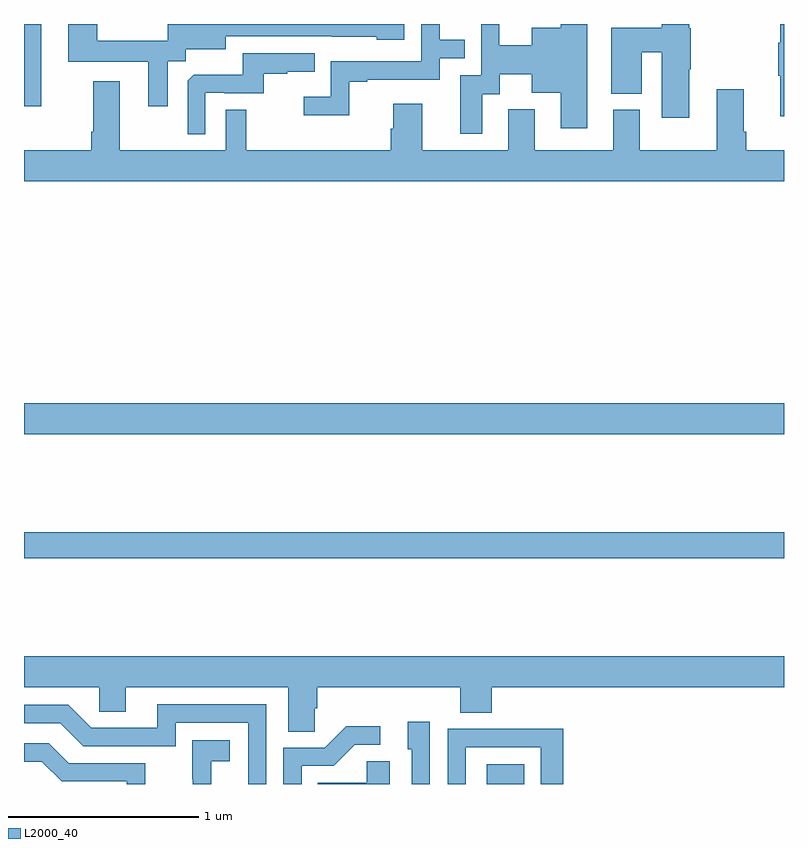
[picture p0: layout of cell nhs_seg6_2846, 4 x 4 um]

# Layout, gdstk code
import gdstk
lib = gdstk.Library(unit=1e-6, precision=1e-09)
def R(c, l, rs):  # rectangles x0, y0, x1, y1
    for r in rs: c.add(gdstk.rectangle(r[:2], r[2:], *l))
def P(c, l, *ps):  # polygons
    for p in ps: c.add(gdstk.Polygon(p, *l))
L2000_40 = (2000, 40)

nhs_seg6_2846 = lib.new_cell('nhs_seg6_2846')
R(nhs_seg6_2846, L2000_40, [(281.435,941.5,281.632,941.605), (279,942.688,283,942.824), (279,943.34,283,943.504), (279,945.066,279.091,945.5)])
P(nhs_seg6_2846, L2000_40, [(280.713,945.195),(280.807,945.195),(280.807,945.207),(281.187,945.207),(281.187,945.321),(281.321,945.321),(281.321,945.417),(281.187,945.417),(281.187,945.5),(281.091,945.5),(281.091,945.303),(280.614,945.303),(280.614,945.118),(280.473,945.118),(280.473,945.02),(280.713,945.02)],
  [(281.413,945.13),(281.503,945.13),(281.503,945.236),(281.672,945.236),(281.672,945.137),(281.825,945.137),(281.825,944.952),(281.965,944.952),(281.965,945.5),(281.825,945.5),(281.825,945.481),(281.672,945.481),(281.672,945.388),(281.502,945.388),(281.502,945.5),(281.406,945.5),(281.406,945.231),(281.297,945.231),(281.297,944.922),(281.413,944.922)],
  [(283,945.5),(282.98,945.5),(282.98,945.401),(282.969,945.401),(282.969,945.227),(282.98,945.227),(282.98,945.015),(283,945.015)],
  [(279.757,945.304),(279.852,945.304),(279.852,945.368),(280.063,945.368),(280.063,945.435),(280.621,945.435),(280.621,945.434),(280.857,945.434),(280.857,945.416),(281.002,945.416),(281.002,945.5),(279.756,945.5),(279.756,945.412),(279.385,945.412),(279.385,945.5),(279.233,945.5),(279.233,945.302),(279.653,945.302),(279.653,945.066),(279.757,945.066)],
  [(282.502,945.263),(282.51,945.263),(282.51,945.477),(282.502,945.477),(282.502,945.5),(282.356,945.5),(282.356,945.481),(282.092,945.481),(282.092,945.134),(282.25,945.134),(282.25,945.352),(282.356,945.352),(282.356,945.006),(282.502,945.006)],
  [(279.954,945.138),(280.054,945.138),(280.054,945.135),(280.262,945.135),(280.262,945.237),(280.385,945.237),(280.385,945.248),(280.529,945.248),(280.529,945.345),(280.152,945.345),(280.152,945.233),(279.893,945.233),(279.861,945.201),(279.861,944.921),(279.954,944.921)],
  [(283,944.836),(282.8,944.836),(282.8,944.932),(282.787,944.932),(282.787,945.157),(282.647,945.157),(282.647,944.836),(282.241,944.836),(282.241,945.049),(282.101,945.049),(282.101,944.836),(281.689,944.836),(281.689,945.052),(281.549,945.052),(281.549,944.836),(281.095,944.836),(281.095,945.079),(280.943,945.079),(280.943,944.949),(280.931,944.949),(280.931,944.836),(280.171,944.836),(280.171,945.05),(280.062,945.05),(280.062,944.836),(279.505,944.836),(279.505,945.199),(279.365,945.199),(279.365,944.932),(279.353,944.932),(279.353,944.836),(279,944.836),(279,944.672),(283,944.672)],
  [(280.53,941.899),(280.544,941.899),(280.544,942.008),(281.297,942.008),(281.297,941.875),(281.462,941.875),(281.462,942.008),(283,942.008),(283,942.172),(279,942.172),(279,942.008),(279.396,942.008),(279.396,941.881),(279.535,941.881),(279.535,942.008),(280.391,942.008),(280.391,941.776),(280.53,941.776)],
  [(280.275,941.919),(279.701,941.919),(279.701,941.796),(279.354,941.796),(279.234,941.916),(279,941.916),(279,941.82),(279.192,941.82),(279.312,941.7),(279.798,941.7),(279.798,941.823),(280.179,941.823),(280.179,941.5),(280.275,941.5)],
  [(281.136,941.827),(281.021,941.827),(281.021,941.682),(281.04,941.682),(281.04,941.5),(281.136,941.5)],
  [(280.461,941.595),(280.63,941.595),(280.741,941.706),(280.876,941.706),(280.876,941.804),(280.697,941.804),(280.584,941.691),(280.365,941.691),(280.365,941.5),(280.461,941.5)],
  [(281.325,941.694),(281.721,941.694),(281.721,941.5),(281.837,941.5),(281.837,941.792),(281.545,941.792),(281.545,941.79),(281.229,941.79),(281.229,941.5),(281.325,941.5)],
  [(279.986,941.621),(280.084,941.621),(280.084,941.731),(279.886,941.731),(279.886,941.525),(279.887,941.525),(279.887,941.5),(279.986,941.5)],
  [(279.639,941.61),(279.235,941.61),(279.13,941.715),(279,941.715),(279,941.618),(279.094,941.618),(279.198,941.514),(279.54,941.514),(279.54,941.5),(279.639,941.5)],
  [(280.924,941.621),(280.803,941.621),(280.803,941.506),(280.546,941.506),(280.546,941.5),(280.924,941.5)])

lib.write_gds('nhs_seg6_2846.gds')
